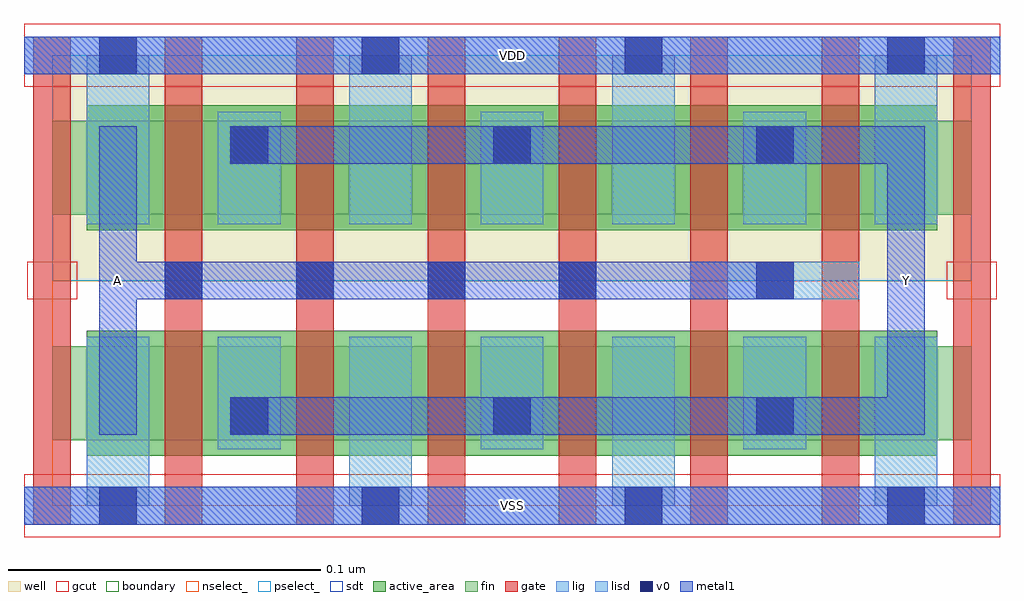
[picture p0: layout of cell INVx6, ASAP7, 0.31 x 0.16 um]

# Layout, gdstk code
import gdstk
lib = gdstk.Library(unit=1e-6, precision=2.5e-10)
def R(c, l, rs):  # rectangles x0, y0, x1, y1
    for r in rs: c.add(gdstk.rectangle(r[:2], r[2:], *l))
def A(c, l, x, y, w, h, nx, ny, dx, dy):  # array of equal rectangles
    R(c, l, [(x+i*dx, y+j*dy, x+i*dx+w, y+j*dy+h) for i in range(nx) for j in range(ny)])
def P(c, l, *ps):  # polygons
    for p in ps: c.add(gdstk.Polygon(p, *l))
well = (1, 0)
fin = (2, 0)
gate = (7, 0)
gcut = (10, 0)
active_area = (11, 0)
nselect_ = (12, 0)
pselect_ = (13, 0)
lig = (16, 0)
lisd = (17, 0)
v0 = (18, 0)
metal1 = (19, 0)
sdt = (88, 0)
boundary = (100, 0)

invx6 = lib.new_cell('INVx6')
R(invx6, well, [(0,0.072,0.294,0.144)])
R(invx6, fin, [(0,0.021,0.294,0.051), (0,0.093,0.294,0.123)])
A(invx6, gate, -0.006, -0.006, 0.012, 0.156, 8, 1, 0.042, 0)
R(invx6, gcut, [(-0.009,-0.01,0.303,0.01), (-0.008,0.066,0.008,0.078), (0.286,0.066,0.302,0.078), (-0.009,0.134,0.303,0.154)])
R(invx6, active_area, [(0.011,0.016,0.283,0.056), (0.011,0.088,0.283,0.128)])
R(invx6, nselect_, [(0,0,0.294,0.072)])
R(invx6, pselect_, [(0,0.072,0.294,0.144)])
A(invx6, lig, 0.036, 0.066, 0.012, 0.012, 4, 1, 0.042, 0)
R(invx6, lig, [(-0.009,-0.006,0.303,0.006), (0.204,0.066,0.258,0.078), (-0.009,0.138,0.303,0.15)])
A(invx6, lisd, 0.011, 0, 0.02, 0.054, 4, 2, 0.084, 0.09)
A(invx6, lisd, 0.053, 0.018, 0.02, 0.036, 3, 2, 0.084, 0.072)
A(invx6, v0, 0.015, -0.006, 0.012, 0.012, 4, 2, 0.084, 0.144)
A(invx6, v0, 0.057, 0.0227, 0.012, 0.012, 3, 2, 0.084, 0.0865)
A(invx6, v0, 0.036, 0.066, 0.012, 0.012, 4, 1, 0.042, 0)
R(invx6, v0, [(0.225,0.066,0.237,0.078)])
R(invx6, metal1, [(-0.009,-0.006,0.303,0.006), (-0.009,0.138,0.303,0.15)])
P(invx6, metal1, [(0.015,0.0227),(0.027,0.0227),(0.027,0.066),(0.237,0.066),(0.237,0.078),(0.027,0.078),(0.027,0.1212),(0.015,0.1212)],
  [(0.057,0.1092),(0.267,0.1092),(0.267,0.0348),(0.057,0.0348),(0.057,0.0227),(0.279,0.0227),(0.279,0.1212),(0.057,0.1212)])
A(invx6, sdt, 0.011, 0.021, 0.02, 0.03, 7, 2, 0.042, 0.072)
R(invx6, boundary, [(0,0,0.294,0.144)])
invx6.add(gdstk.Label('Y', (0.273,0.072), layer=19, texttype=251))
invx6.add(gdstk.Label('A', (0.021,0.072), layer=19, texttype=251))
invx6.add(gdstk.Label('VSS', (0.147,0), layer=19, texttype=251))
invx6.add(gdstk.Label('VDD', (0.147,0.144), layer=19, texttype=251))

lib.write_gds('INVx6.gds')
